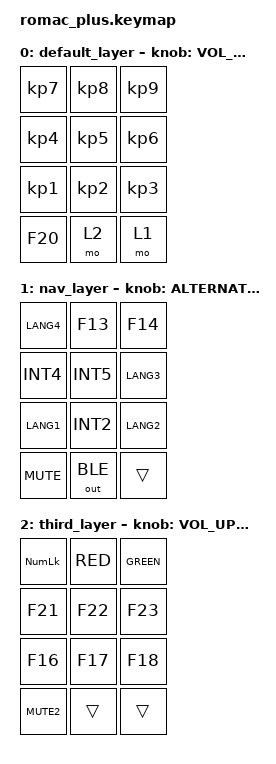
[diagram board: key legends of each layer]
/*
 * Copyright (c) 2020 The ZMK Contributors
 *
 * SPDX-License-Identifier: MIT
 * vim:ts=4 sw=4 sts=4 expandtab:
 */

#include <behaviors.dtsi>
#include <dt-bindings/zmk/bt.h>
#include <dt-bindings/zmk/keys.h>
#include <dt-bindings/zmk/outputs.h>


#include <dt-bindings/zmk/hid_usage.h>
#include <dt-bindings/zmk/hid_usage_pages.h>
#define C_ALTERNATE_AUDIO_DECREMENT                                                 \
    (ZMK_HID_USAGE(HID_USAGE_CONSUMER, HID_USAGE_CONSUMER_ALTERNATE_AUDIO_DECREMENT))

// key: 87; state: 1 (pressed)
//                       sym: KP_End       (65436), utf8: ''
// key: 87; state: 0 (released)
//                       sym: KP_End       (65436), utf8: ''
// key: 88; state: 1 (pressed)
//                       sym: KP_Down      (65433), utf8: ''
// key: 88; state: 0 (released)
//                       sym: KP_Down      (65433), utf8: ''
// key: 89; state: 1 (pressed)
//                       sym: KP_Next      (65435), utf8: ''
// key: 89; state: 0 (released)
//                       sym: KP_Next      (65435), utf8: ''
// key: 83; state: 1 (pressed)
//                       sym: KP_Left      (65430), utf8: ''
// key: 83; state: 0 (released)
//                       sym: KP_Left      (65430), utf8: ''
// key: 84; state: 1 (pressed)
//                       sym: KP_Begin     (65437), utf8: ''
// key: 84; state: 0 (released)
//                       sym: KP_Begin     (65437), utf8: ''
// key: 85; state: 1 (pressed)
//                       sym: KP_Right     (65432), utf8: ''
// key: 85; state: 0 (released)
//                       sym: KP_Right     (65432), utf8: ''
// key: 79; state: 1 (pressed)
//                       sym: KP_Home      (65429), utf8: ''
// key: 79; state: 0 (released)
//                       sym: KP_Home      (65429), utf8: ''
// key: 80; state: 1 (pressed)
//                       sym: KP_Up        (65431), utf8: ''
// key: 80; state: 0 (released)
//                       sym: KP_Up        (65431), utf8: ''
// key: 81; state: 1 (pressed)
//                       sym: KP_Prior     (65434), utf8: ''
// key: 81; state: 0 (released)
//                       sym: KP_Prior     (65434), utf8: ''
// [14:     wl_keyboard] keymap: format: 1 (xkb v1), size: 66556
// [14:     wl_keyboard] repeat_info: rate: 25 keys/sec; delay: 600 ms
// [14:     wl_keyboard] modifiers: serial: 0; group: 0
//                       depressed: 00000000
//                       latched: 00000000
//                       locked: 00000000
// key: 36; state: 1 (pressed)
// '                     sym: Return       (65293), utf8: '
// key: 36; state: 0 (released)
//                       sym: Return       (65293), utf8: ''
// [14:     wl_keyboard] keymap: format: 1 (xkb v1), size: 66556
// [14:     wl_keyboard] repeat_info: rate: 25 keys/sec; delay: 600 ms
// [14:     wl_keyboard] modifiers: serial: 0; group: 0
//                       depressed: 00000000
//                       latched: 00000000
//                       locked: 00000000
// key: 130; state: 1 (pressed)
//                       sym: Hangul       (65329), utf8: ''
// key: 130; state: 0 (released)
//                       sym: Hangul       (65329), utf8: ''
// key: 101; state: 1 (pressed)
//                       sym: Hiragana_Katakana (65319), utf8: ''
// key: 101; state: 0 (released)
//                       sym: Hiragana_Katakana (65319), utf8: ''
// key: 131; state: 1 (pressed)
//                       sym: Hangul_Hanja (65332), utf8: ''
// key: 131; state: 0 (released)
//                       sym: Hangul_Hanja (65332), utf8: ''
// key: 100; state: 1 (pressed)
//                       sym: Henkan_Mode  (65315), utf8: ''
// key: 100; state: 0 (released)
//                       sym: Henkan_Mode  (65315), utf8: ''
// key: 102; state: 1 (pressed)
//                       sym: Muhenkan     (65314), utf8: ''
// key: 102; state: 0 (released)
//                       sym: Muhenkan     (65314), utf8: ''
// key: 98; state: 1 (pressed)
//                       sym: Katakana     (65318), utf8: ''
// key: 98; state: 0 (released)
//                       sym: Katakana     (65318), utf8: ''
// key: 99; state: 1 (pressed)
//                       sym: Hiragana     (65317), utf8: ''
// key: 99; state: 0 (released)
//                       sym: Hiragana     (65317), utf8: ''
// key: 191; state: 1 (pressed)
//                       sym: XF86Tools    (269025153), utf8: ''
// key: 191; state: 0 (released)
//                       sym: XF86Tools    (269025153), utf8: ''
// key: 192; state: 1 (pressed)
//                       sym: XF86Launch5  (269025093), utf8: ''
// key: 192; state: 0 (released)
//                       sym: XF86Launch5  (269025093), utf8: ''
// [14:     wl_keyboard] keymap: format: 1 (xkb v1), size: 66556
// [14:     wl_keyboard] repeat_info: rate: 25 keys/sec; delay: 600 ms
// [14:     wl_keyboard] modifiers: serial: 0; group: 0
//                       depressed: 00000000
//                       latched: 00000000
//                       locked: 00000000
// key: 36; state: 1 (pressed)
// '                     sym: Return       (65293), utf8: '
// key: 36; state: 0 (released)
//                       sym: Return       (65293), utf8: ''
// [14:     wl_keyboard] keymap: format: 1 (xkb v1), size: 66556
// [14:     wl_keyboard] repeat_info: rate: 25 keys/sec; delay: 600 ms
// [14:     wl_keyboard] modifiers: serial: 0; group: 0
//                       depressed: 00000000
//                       latched: 00000000
//                       locked: 00000000
// key: 194; state: 1 (pressed)
//                       sym: XF86Launch7  (269025095), utf8: ''
// key: 194; state: 0 (released)
//                       sym: XF86Launch7  (269025095), utf8: ''
// key: 195; state: 1 (pressed)
//                       sym: XF86Launch8  (269025096), utf8: ''
// key: 195; state: 0 (released)
//                       sym: XF86Launch8  (269025096), utf8: ''
// key: 196; state: 1 (pressed)
//                       sym: XF86Launch9  (269025097), utf8: ''
// key: 196; state: 0 (released)
//                       sym: XF86Launch9  (269025097), utf8: ''
// key: 199; state: 1 (pressed)
//                       sym: XF86TouchpadToggle (269025193), utf8: ''
// key: 199; state: 0 (released)
//                       sym: XF86TouchpadToggle (269025193), utf8: ''
// key: 200; state: 1 (pressed)
//                       sym: XF86TouchpadOn (269025200), utf8: ''
// key: 200; state: 0 (released)
//                       sym: XF86TouchpadOn (269025200), utf8: ''
// key: 201; state: 1 (pressed)
//                       sym: XF86TouchpadOff (269025201), utf8: ''
// key: 201; state: 0 (released)
//                       sym: XF86TouchpadOff (269025201), utf8: ''
// key: 77; state: 1 (pressed)
//                       sym: Num_Lock     (65407), utf8: ''
// [14:     wl_keyboard] modifiers: serial: 0; group: 16
//                       depressed: 00000010: Mod2 
//                       latched: 00000000
//                       locked: 00000010: Mod2 
// key: 77; state: 0 (released)
//                       sym: Num_Lock     (65407), utf8: ''
// [14:     wl_keyboard] modifiers: serial: 0; group: 16
//                       depressed: 00000000
//                       latched: 00000000
//                       locked: 00000010: Mod2 
// key: 406; state: 1 (pressed)
//                       sym: NoSymbol     (0), utf8: ''
// key: 406; state: 0 (released)
//                       sym: NoSymbol     (0), utf8: ''
// key: 407; state: 1 (pressed)
//                       sym: NoSymbol     (0), utf8: ''
// key: 407; state: 0 (released)
//                       sym: NoSymbol     (0), utf8: ''

/ {
    keymap {
        compatible = "zmk,keymap";

        default_layer {
            bindings = <
              &kp KP_N7   &kp KP_N8  &kp KP_N9
              &kp KP_N4   &kp KP_N5  &kp KP_N6
              &kp KP_N1   &kp KP_N2  &kp KP_N3
              &kp F20     &mo 2      &mo 1
            >;

             sensor-bindings = <&inc_dec_kp C_VOL_UP C_VOL_DN>;
        };

         nav_layer {
             bindings = <
                 &kp LANG4    &kp F13       &kp F14
                 &kp INT4     &kp INT5      &kp LANG3
                 &kp LANG1    &kp INT2      &kp LANG2
                 &kp C_MUTE   &out OUT_BLE  &trans
             >;

            sensor-bindings = <&inc_dec_kp C_ALTERNATE_AUDIO_INCREMENT C_ALTERNATE_AUDIO_DECREMENT>;
         };

         third_layer {
            //
            //
            // XF86Launch7 XF86Launch8 XF86Launch9
             bindings = <
                 &kp KP_NUMLOCK   &kp C_RED    &kp C_GREEN
                 &kp F21          &kp F22      &kp F23
                 &kp F16          &kp F17      &kp F18
                 &kp K_MUTE2      &trans       &trans
             >;

            sensor-bindings = <&inc_dec_kp K_VOL_UP2 K_VOL_DN2>;
         };

    };
};
